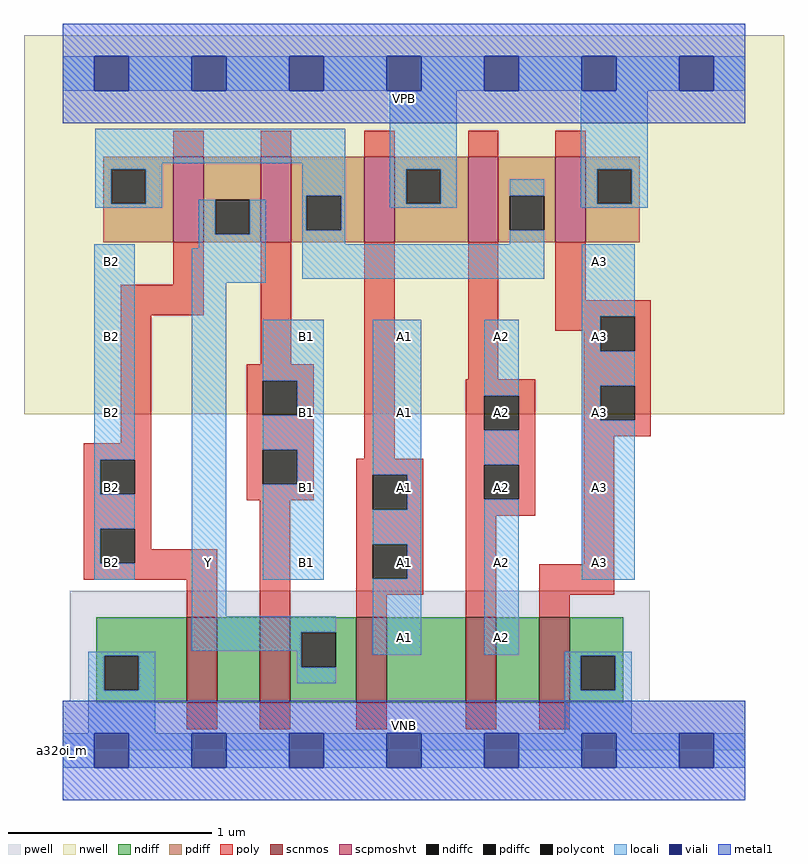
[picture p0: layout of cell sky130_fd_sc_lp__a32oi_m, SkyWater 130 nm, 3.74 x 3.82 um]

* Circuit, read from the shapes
.subckt sky130_fd_sc_lp__a32oi_m A1 A2 A3 B1 B2 VGND VNB VPB VPWR Y
XM1 n1 B2 VGND VNB sky130_fd_pr__nfet_01v8 w=0.42 l=0.15
XM2 Y B1 n1 VNB sky130_fd_pr__nfet_01v8 w=0.42 l=0.15
XM3 n2 A1 Y VNB sky130_fd_pr__nfet_01v8 w=0.42 l=0.15
XM4 n3 A2 n2 VNB sky130_fd_pr__nfet_01v8 w=0.42 l=0.15
XM5 VGND A3 n3 VNB sky130_fd_pr__nfet_01v8 w=0.42 l=0.15
XM6 Y B2 n4 VPB sky130_fd_pr__pfet_01v8_hvt w=0.42 l=0.15
XM7 n4 B1 Y VPB sky130_fd_pr__pfet_01v8_hvt w=0.42 l=0.15
XM8 VPWR A1 n4 VPB sky130_fd_pr__pfet_01v8_hvt w=0.42 l=0.15
XM9 n4 A2 VPWR VPB sky130_fd_pr__pfet_01v8_hvt w=0.42 l=0.15
XM10 VPWR A3 n4 VPB sky130_fd_pr__pfet_01v8_hvt w=0.42 l=0.15
.ends

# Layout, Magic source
magic
tech sky130A
magscale 1 2
<< nwell >>
rect -38 331 710 704
<< pwell >>
rect 7 49 578 157
rect 0 0 672 49
<< scnmos >>
rect 122 47 152 131
rect 194 47 224 131
rect 289 47 319 131
rect 397 47 427 131
rect 469 47 499 131
<< scpmoshvt >>
rect 109 500 139 584
rect 195 500 225 584
rect 297 500 327 584
rect 399 500 429 584
rect 485 500 515 584
<< ndiff >>
rect 33 93 122 131
rect 33 59 41 93
rect 75 59 122 93
rect 33 47 122 59
rect 152 47 194 131
rect 224 116 289 131
rect 224 82 235 116
rect 269 82 289 116
rect 224 47 289 82
rect 319 47 397 131
rect 427 47 469 131
rect 499 93 552 131
rect 499 59 510 93
rect 544 59 552 93
rect 499 47 552 59
<< pdiff >>
rect 40 572 109 584
rect 40 538 48 572
rect 82 538 109 572
rect 40 500 109 538
rect 139 542 195 584
rect 139 508 150 542
rect 184 508 195 542
rect 139 500 195 508
rect 225 546 297 584
rect 225 512 240 546
rect 274 512 297 546
rect 225 500 297 512
rect 327 572 399 584
rect 327 538 338 572
rect 372 538 399 572
rect 327 500 399 538
rect 429 546 485 584
rect 429 512 440 546
rect 474 512 485 546
rect 429 500 485 512
rect 515 572 568 584
rect 515 538 526 572
rect 560 538 568 572
rect 515 500 568 538
<< ndiffc >>
rect 41 59 75 93
rect 235 82 269 116
rect 510 59 544 93
<< pdiffc >>
rect 48 538 82 572
rect 150 508 184 542
rect 240 512 274 546
rect 338 538 372 572
rect 440 512 474 546
rect 526 538 560 572
<< poly >>
rect 109 584 139 610
rect 195 584 225 610
rect 297 584 327 610
rect 399 584 429 610
rect 485 584 515 610
rect 109 458 139 500
rect 57 428 139 458
rect 57 302 87 428
rect 195 380 225 500
rect 21 286 87 302
rect 21 252 37 286
rect 71 252 87 286
rect 21 218 87 252
rect 181 364 247 380
rect 181 330 197 364
rect 231 330 247 364
rect 181 296 247 330
rect 181 262 197 296
rect 231 262 247 296
rect 297 287 327 500
rect 399 365 429 500
rect 485 443 515 500
rect 485 427 579 443
rect 485 413 529 427
rect 513 393 529 413
rect 563 393 579 427
rect 397 349 465 365
rect 397 315 415 349
rect 449 315 465 349
rect 181 246 247 262
rect 289 271 355 287
rect 21 184 37 218
rect 71 198 87 218
rect 71 184 152 198
rect 21 168 152 184
rect 122 131 152 168
rect 194 131 224 246
rect 289 237 305 271
rect 339 237 355 271
rect 289 203 355 237
rect 289 169 305 203
rect 339 169 355 203
rect 289 153 355 169
rect 397 281 465 315
rect 397 247 415 281
rect 449 247 465 281
rect 397 231 465 247
rect 513 359 579 393
rect 513 325 529 359
rect 563 325 579 359
rect 513 309 579 325
rect 289 131 319 153
rect 397 131 427 231
rect 513 183 543 309
rect 469 153 543 183
rect 469 131 499 153
rect 122 21 152 47
rect 194 21 224 47
rect 289 21 319 47
rect 397 21 427 47
rect 469 21 499 47
<< polycont >>
rect 37 252 71 286
rect 197 330 231 364
rect 197 262 231 296
rect 529 393 563 427
rect 415 315 449 349
rect 37 184 71 218
rect 305 237 339 271
rect 305 169 339 203
rect 415 247 449 281
rect 529 325 563 359
<< locali >>
rect 0 649 31 683
rect 65 649 127 683
rect 161 649 223 683
rect 257 649 319 683
rect 353 649 415 683
rect 449 649 511 683
rect 545 649 607 683
rect 641 649 672 683
rect 32 578 278 612
rect 32 572 98 578
rect 32 538 48 572
rect 82 538 98 572
rect 236 546 278 578
rect 32 534 98 538
rect 134 508 150 542
rect 184 508 200 542
rect 31 286 71 498
rect 134 494 200 508
rect 31 252 37 286
rect 31 218 71 252
rect 31 184 37 218
rect 31 168 71 184
rect 127 460 200 494
rect 236 512 240 546
rect 274 512 278 546
rect 322 572 388 649
rect 322 538 338 572
rect 372 538 388 572
rect 510 572 576 649
rect 322 534 388 538
rect 440 546 474 562
rect 236 498 278 512
rect 510 538 526 572
rect 560 538 576 572
rect 510 534 576 538
rect 440 498 474 512
rect 236 464 474 498
rect 127 132 161 460
rect 511 427 563 498
rect 197 364 257 424
rect 231 330 257 364
rect 197 296 257 330
rect 231 262 257 296
rect 197 168 257 262
rect 305 271 353 424
rect 339 237 353 271
rect 305 203 353 237
rect 339 169 353 203
rect 127 116 269 132
rect 127 98 235 116
rect 25 93 91 97
rect 25 59 41 93
rect 75 59 91 93
rect 231 82 235 98
rect 305 94 353 169
rect 415 349 449 424
rect 415 281 449 315
rect 415 94 449 247
rect 511 393 529 427
rect 511 359 563 393
rect 511 325 529 359
rect 511 168 563 325
rect 231 66 269 82
rect 494 93 560 97
rect 25 17 91 59
rect 494 59 510 93
rect 544 59 560 93
rect 494 17 560 59
rect 0 -17 31 17
rect 65 -17 127 17
rect 161 -17 223 17
rect 257 -17 319 17
rect 353 -17 415 17
rect 449 -17 511 17
rect 545 -17 607 17
rect 641 -17 672 17
<< viali >>
rect 31 649 65 683
rect 127 649 161 683
rect 223 649 257 683
rect 319 649 353 683
rect 415 649 449 683
rect 511 649 545 683
rect 607 649 641 683
rect 31 -17 65 17
rect 127 -17 161 17
rect 223 -17 257 17
rect 319 -17 353 17
rect 415 -17 449 17
rect 511 -17 545 17
rect 607 -17 641 17
<< metal1 >>
rect 0 683 672 715
rect 0 649 31 683
rect 65 649 127 683
rect 161 649 223 683
rect 257 649 319 683
rect 353 649 415 683
rect 449 649 511 683
rect 545 649 607 683
rect 641 649 672 683
rect 0 617 672 649
rect 0 17 672 49
rect 0 -17 31 17
rect 65 -17 127 17
rect 161 -17 223 17
rect 257 -17 319 17
rect 353 -17 415 17
rect 449 -17 511 17
rect 545 -17 607 17
rect 641 -17 672 17
rect 0 -49 672 -17
<< labels >>
flabel pwell s 0 0 672 49 0 FreeSans 200 0 0 0 VNB
port 7 nsew ground bidirectional
flabel nwell s 0 617 672 666 0 FreeSans 200 0 0 0 VPB
port 8 nsew power bidirectional
rlabel comment s 0 0 0 0 4 a32oi_m
flabel metal1 s 0 617 672 666 0 FreeSans 340 0 0 0 VPWR
port 9 nsew power bidirectional
flabel metal1 s 0 0 672 49 0 FreeSans 340 0 0 0 VGND
port 6 nsew ground bidirectional
flabel locali s 319 94 353 128 0 FreeSans 340 0 0 0 A1
port 1 nsew signal input
flabel locali s 319 168 353 202 0 FreeSans 340 0 0 0 A1
port 1 nsew signal input
flabel locali s 319 242 353 276 0 FreeSans 340 0 0 0 A1
port 1 nsew signal input
flabel locali s 319 316 353 350 0 FreeSans 340 0 0 0 A1
port 1 nsew signal input
flabel locali s 319 390 353 424 0 FreeSans 340 0 0 0 A1
port 1 nsew signal input
flabel locali s 415 94 449 128 0 FreeSans 340 0 0 0 A2
port 2 nsew signal input
flabel locali s 415 168 449 202 0 FreeSans 340 0 0 0 A2
port 2 nsew signal input
flabel locali s 415 242 449 276 0 FreeSans 340 0 0 0 A2
port 2 nsew signal input
flabel locali s 415 316 449 350 0 FreeSans 340 0 0 0 A2
port 2 nsew signal input
flabel locali s 415 390 449 424 0 FreeSans 340 0 0 0 A2
port 2 nsew signal input
flabel locali s 223 168 257 202 0 FreeSans 340 0 0 0 B1
port 4 nsew signal input
flabel locali s 223 242 257 276 0 FreeSans 340 0 0 0 B1
port 4 nsew signal input
flabel locali s 223 316 257 350 0 FreeSans 340 0 0 0 B1
port 4 nsew signal input
flabel locali s 223 390 257 424 0 FreeSans 340 0 0 0 B1
port 4 nsew signal input
flabel locali s 31 168 65 202 0 FreeSans 340 0 0 0 B2
port 5 nsew signal input
flabel locali s 31 242 65 276 0 FreeSans 340 0 0 0 B2
port 5 nsew signal input
flabel locali s 31 316 65 350 0 FreeSans 340 0 0 0 B2
port 5 nsew signal input
flabel locali s 31 390 65 424 0 FreeSans 340 0 0 0 B2
port 5 nsew signal input
flabel locali s 31 464 65 498 0 FreeSans 340 0 0 0 B2
port 5 nsew signal input
flabel locali s 511 168 545 202 0 FreeSans 340 0 0 0 A3
port 3 nsew signal input
flabel locali s 511 242 545 276 0 FreeSans 340 0 0 0 A3
port 3 nsew signal input
flabel locali s 511 316 545 350 0 FreeSans 340 0 0 0 A3
port 3 nsew signal input
flabel locali s 511 390 545 424 0 FreeSans 340 0 0 0 A3
port 3 nsew signal input
flabel locali s 511 464 545 498 0 FreeSans 340 0 0 0 A3
port 3 nsew signal input
flabel locali s 127 168 161 202 0 FreeSans 340 0 0 0 Y
port 10 nsew signal output
<< properties >>
string LEFsite unit
string LEFclass CORE
string FIXED_BBOX 0 0 672 666
string GDS_FILE $PDKPATH/libs.ref/sky130_fd_sc_lp/gds/sky130_fd_sc_lp.gds
string LEFsymmetry X Y R90
string GDS_END 934020
string GDS_START 925736
<< end >>
